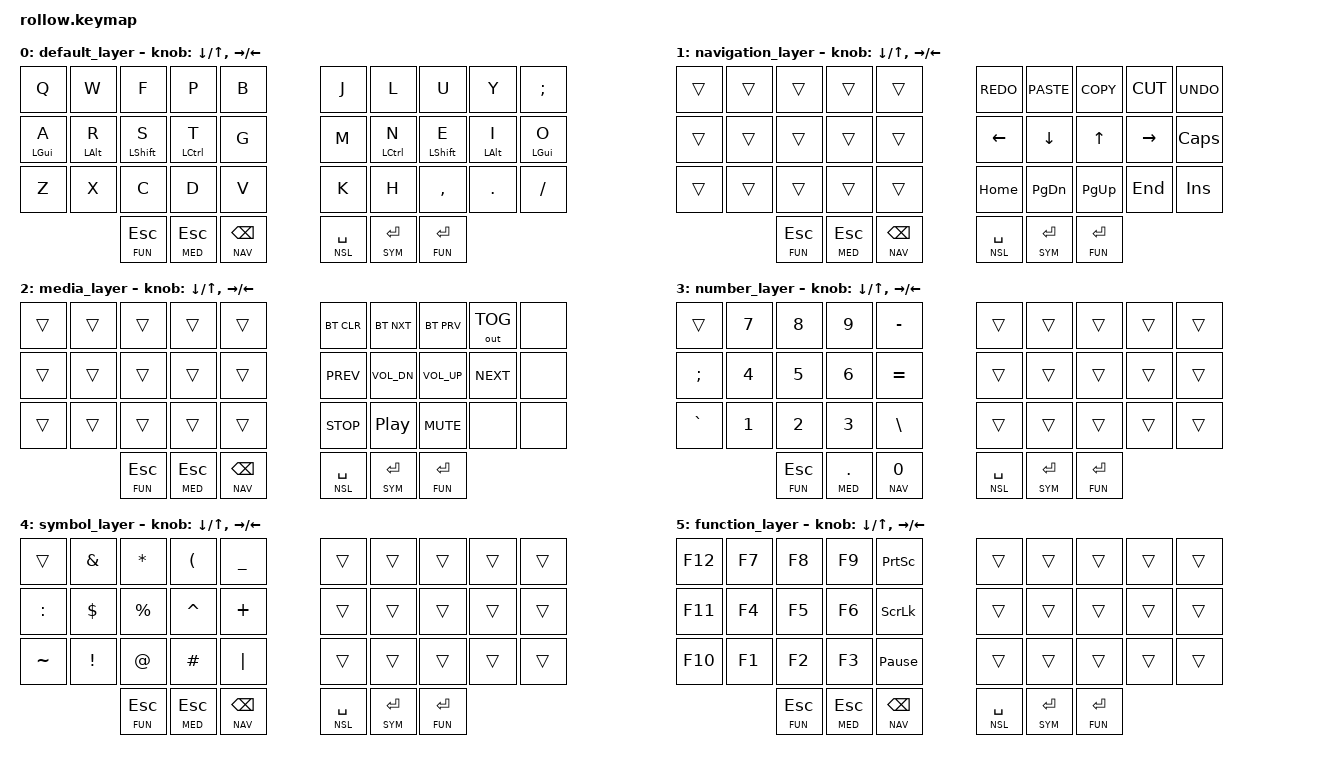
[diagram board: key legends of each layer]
/*
 * Copyright (c) 2020 The ZMK Contributors
 *
 * SPDX-License-Identifier: MIT
 */

#include <behaviors.dtsi>
#include <dt-bindings/zmk/keys.h>
#include <dt-bindings/zmk/bt.h>
#include <dt-bindings/zmk/outputs.h>

#define DEFAULT 0
#define NAV 1
#define MED 2
#define NSL 3
#define SYM 4
#define FUN 5

/ {
  #include "36key_combos.dtsi"
  
  chosen {
    zmk,matrix_transform = &five_column_transform;
  };

  behaviors {
    hm: homerow_mods {
      compatible = "zmk,behavior-hold-tap";
      label = "HOMEROW_MODS";
      #binding-cells = <2>;
      tapping_term_ms = <200>;
      flavor = "tap-preferred";
      bindings = <&kp>, <&kp>;
    };
  };

  keymap {
      compatible = "zmk,keymap";

      default_layer {
/* Default
 * .----------------------------------.                    .----------------------------------.
 * |   Q  |   W  |   F  |   P  |   B  |                    |   J  |   L  |   U  |   Y  |   :  |
 * |------+------+------+------+------|                    |------+------+------+------+------|
 * |   A  |   R  |   S  |   T  |   G  |                    |   M  |   N  |   E  |   I  |   O  |
 * |------+------+------+------+------|                    |------+------+------+------+------|
 * |   Z  |   X  |   C  |   D  |   V  |-------.    .-------|   K  |   H  |   ,  |   .  |   /  |
 * '----------------------------------/ Back  /     \      \----------------------------------'
 *                   |  GUI |  ESC | / Space /       \ Space\  |ENTER | Tab  |
 *                   |      |      |/       /         \      \ |      |      |
 *                   '-------------''------'           '------''-------------'
 *
 *   Encoder Left: Up <-> Down
 *   Encoder Right: Left <-> Right
 */
        bindings = <
  &kp        Q &kp        W &kp        F &kp        P &kp        B                   &kp        J &kp        L &kp        U &kp        Y &kp     SEMI
  &hm   LGUI A &hm   LALT R &hm  LSHFT S &hm  LCTRL T &kp        G                   &kp        M &hm  LCTRL N &hm  LSHFT E &hm   LALT I &hm   LGUI O
  &kp        Z &kp        X &kp        C &kp        D &kp        V                   &kp        K &kp        H &kp    COMMA &kp   PERIOD &kp    SLASH
                            &lt  FUN ESC &lt  MED ESC &lt NAV BSPC                  &lt NSL SPACE &lt  SYM RET &lt  FUN RET
                        >;
                        sensor-bindings = <&inc_dec_kp DOWN UP &inc_dec_kp RIGHT LEFT>;
                };

      navigation_layer {
        bindings = <
  &trans       &trans       &trans       &trans       &trans                         &kp   K_REDO &kp  K_PASTE &kp   K_COPY &kp    K_CUT &kp   K_UNDO
  &trans       &trans       &trans       &trans       &trans                         &kp     LEFT &kp     DOWN &kp       UP &kp    RIGHT &kp     CAPS
  &trans       &trans       &trans       &trans       &trans                         &kp     HOME &kp    PG_DN &kp    PG_UP &kp      END &kp      INS
                            &lt  FUN ESC &lt  MED ESC &lt NAV BSPC                  &lt NSL SPACE &lt  SYM RET &lt  FUN RET
                        >;
                        sensor-bindings = <&inc_dec_kp DOWN UP &inc_dec_kp RIGHT LEFT>;
                };

      media_layer {
        bindings = <
  &trans       &trans       &trans       &trans       &trans                         &bt   BT_CLR &bt   BT_NXT &bt   BT_PRV &out OUT_TOG &none
  &trans       &trans       &trans       &trans       &trans                         &kp   K_PREV &kp C_VOL_DN &kp C_VOL_UP &kp   K_NEXT &none
  &trans       &trans       &trans       &trans       &trans                         &kp   C_STOP &kp C_PLAY_PAUSE &kp K_MUTE     &none  &none
                            &lt  FUN ESC &lt  MED ESC &lt NAV BSPC                  &lt NSL SPACE &lt  SYM RET &lt  FUN RET
                        >;
                        sensor-bindings = <&inc_dec_kp DOWN UP &inc_dec_kp RIGHT LEFT>;
                };

      number_layer {
        bindings = <
  &trans       &kp       N7 &kp       N8 &kp       N9 &kp    MINUS                   &trans       &trans       &trans       &trans       &trans
  &kp     SEMI &kp       N4 &kp       N5 &kp       N6 &kp    EQUAL                   &trans       &trans       &trans       &trans       &trans
  &kp    GRAVE &kp       N1 &kp       N2 &kp       N3 &kp     BSLH                   &trans       &trans       &trans       &trans       &trans
                            &lt  FUN ESC &lt  MED DOT &lt   NAV N0                  &lt NSL SPACE &lt  SYM RET &lt  FUN RET
                        >;
                        sensor-bindings = <&inc_dec_kp DOWN UP &inc_dec_kp RIGHT LEFT>;
                };

      symbol_layer {
        bindings = <
  &trans       &kp     AMPS &kp    ASTRK &kp     LPAR &kp    UNDER                   &trans       &trans       &trans       &trans       &trans
  &kp    COLON &kp     DLLR &kp    PRCNT &kp    CARET &kp     PLUS                   &trans       &trans       &trans       &trans       &trans
  &kp    TILDE &kp     EXCL &kp       AT &kp     HASH &kp     PIPE                   &trans       &trans       &trans       &trans       &trans
                            &lt  FUN ESC &lt  MED ESC &lt NAV BSPC                  &lt NSL SPACE &lt  SYM RET &lt  FUN RET
                        >;
                        sensor-bindings = <&inc_dec_kp DOWN UP &inc_dec_kp RIGHT LEFT>;
                };

      function_layer {
        bindings = <
  &kp      F12 &kp       F7 &kp       F8 &kp       F9 &kp    PSCRN                   &trans       &trans       &trans       &trans       &trans
  &kp      F11 &kp       F4 &kp       F5 &kp       F6 &kp     SLCK                   &trans       &trans       &trans       &trans       &trans
  &kp      F10 &kp       F1 &kp       F2 &kp       F3 &kp PAUSE_BREAK                &trans       &trans       &trans       &trans       &trans
                            &lt  FUN ESC &lt  MED ESC &lt NAV BSPC                  &lt NSL SPACE &lt  SYM RET &lt  FUN RET
                        >;
                        sensor-bindings = <&inc_dec_kp DOWN UP &inc_dec_kp RIGHT LEFT>;
                };
        };
};
